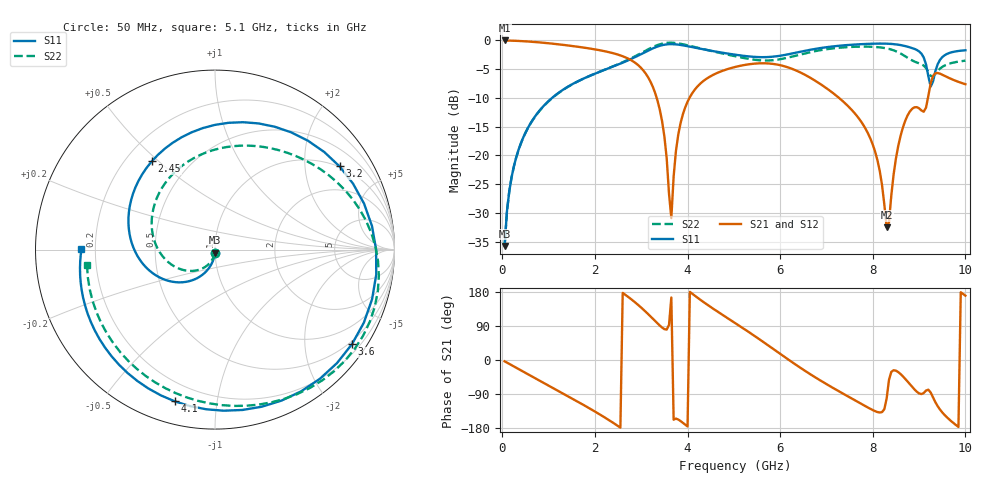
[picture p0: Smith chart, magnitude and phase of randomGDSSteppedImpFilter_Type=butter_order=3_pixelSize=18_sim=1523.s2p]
! freq	dB(S11)	phase(S11)	dB(S12)	phase(S12)
!  dB(S21)	phase(S21)	dB(S22)	phase(S22)
!S-par simulation data
#  GHz  S  DB  R 50
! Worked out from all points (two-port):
!   200 points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, 50 MHz to 10 GHz, reference 50 ohm
!   highest |S21| = -0.01 dB at 50 MHz (marker M1); lowest = -32.5 dB at 8.3 GHz (marker M2)
!   |S21| within 3 dB of the highest: start of sweep to 2.676 GHz
!   lowest |S11| = -35.8 dB at 50 MHz (marker M3), VSWR 1.03, Z = 49.9 - j1.63 ohm
!   |S11| at or under -10 dB: start of sweep to 1.075 GHz
!   |S22| runs from -35.8 to -0.4 dB; largest |S21 - S12| = 0
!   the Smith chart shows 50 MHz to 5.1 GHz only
!   S11 on the Smith chart (normalised r, x): 50 MHz: 1.00, -0.03; 2.45 GHz: 0.31, +0.48; 3.2 GHz: 0.98, +3.00; 3.6 GHz: 0.42, -3.16; 4.1 GHz: 0.11, -0.76; 5.1 GHz: 0.15, +0.00
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0.05  -35.75 -92.3  -0.01 -3.5  -0.01 -3.5  -35.79 -93.9
0.5  -16.06 -116.7  -0.16 -33.9  -0.16 -33.9  -16.09 -132.1
1.75  -6.65 175.5  -1.24 -118.3  -1.24 -118.3  -6.67 126.4
2.45  -4.37 125.6  -2.35 -170.2  -2.35 -170.2  -4.32 72.2
3.2  -1.57 33.8  -7.18 115.1  -7.18 115.1  -1.34 10.8
3.4  -0.94 -0.1  -12.02 91.0  -12.02 91.0  -0.68 -9.2
3.6  -0.65 -34.6  -26.66 92.6  -26.66 92.6  -0.40 -30.2
3.65  -0.65 -42.9  -30.91 164.9  -30.91 164.9  -0.40 -35.4
4.1  -1.16 -104.9  -9.20 175.1  -9.20 175.1  -1.04 -78.7
5.05  -2.51 -177.6  -4.57 95.8  -4.57 95.8  -2.79 -167.9
5.1  -2.57 179.8  -4.48 91.8  -4.48 91.8  -2.88 -173.3
5.9  -2.78 147.9  -4.15 24.9  -4.15 24.9  -3.39 82.0
6.7  -1.55 115.8  -6.73 -41.4  -6.73 -41.4  -1.96 -21.1
7.55  -0.75 75.2  -12.12 -101.9  -12.12 -101.9  -1.13 -104.3
8.05  -0.56 50.0  -19.33 -135.0  -19.33 -135.0  -1.14 -156.7
8.3  -0.57 36.6  -32.51 -101.2  -32.51 -101.2  -1.39 168.3
8.35  -0.58 33.8  -31.64 -52.4  -31.64 -52.4  -1.48 160.0
8.65  -0.89 16.5  -15.16 -43.0  -15.16 -43.0  -2.50 95.2
8.95  -1.66 -2.5  -11.61 -83.6  -11.61 -83.6  -3.84 4.3
9.25  -8.03 -7.8  -7.49 -85.8  -7.49 -85.8  -6.18 -75.2
9.45  -3.40 8.2  -5.78 -130.5  -5.78 -130.5  -4.92 -99.9
10  -1.71 -24.1  -7.63 169.9  -7.63 169.9  -3.52 -178.6
